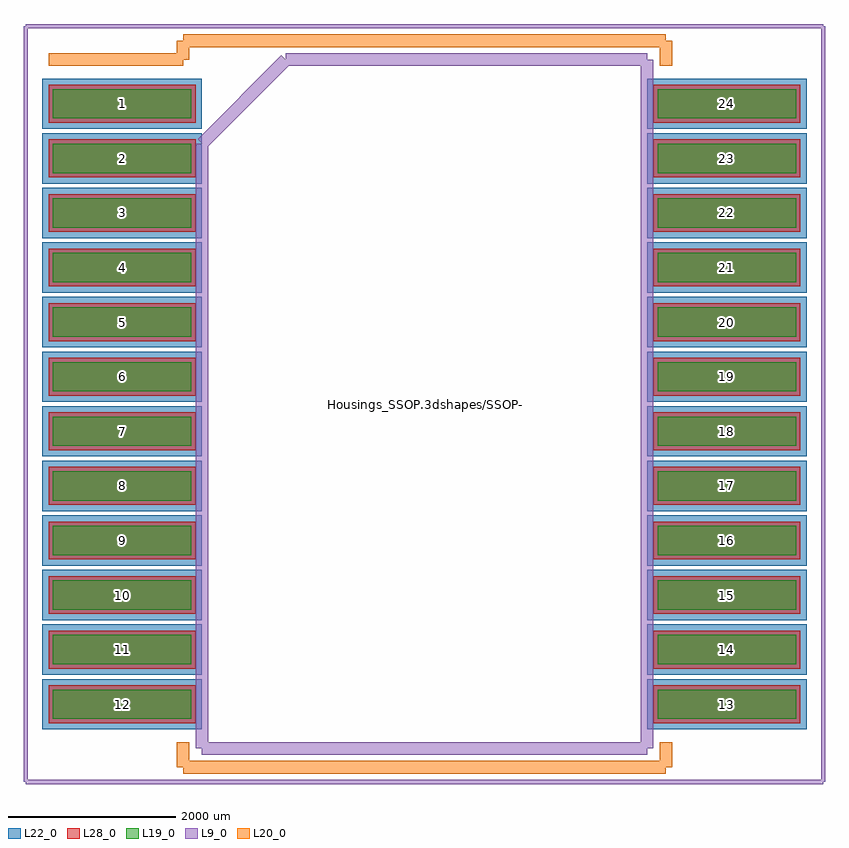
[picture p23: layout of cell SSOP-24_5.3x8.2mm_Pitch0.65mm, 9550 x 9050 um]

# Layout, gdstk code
import gdstk
lib = gdstk.Library(unit=1e-6, precision=1e-09)
def R(c, l, rs):  # rectangles x0, y0, x1, y1
    for r in rs: c.add(gdstk.rectangle(r[:2], r[2:], *l))
def A(c, l, x, y, w, h, nx, ny, dx, dy):  # array of equal rectangles
    R(c, l, [(x+i*dx, y+j*dy, x+i*dx+w, y+j*dy+h) for i in range(nx) for j in range(ny)])
L9_0 = (9, 0)
L19_0 = (19, 0)
L20_0 = (20, 0)
L22_0 = (22, 0)
L28_0 = (28, 0)

ssop_24_5_3x8_2mm_pitch0 = lib.new_cell('SSOP-24_5.3x8.2mm_Pitch0.65mm')
A(ssop_24_5_3x8_2mm_pitch0, L19_0, -4425, -3750, 1650, 350, 1, 12, 0, 650)
A(ssop_24_5_3x8_2mm_pitch0, L19_0, 2775, -3750, 1650, 350, 1, 12, 0, 650)
A(ssop_24_5_3x8_2mm_pitch0, L22_0, -4550, -3875, 1900, 600, 1, 12, 0, 650)
A(ssop_24_5_3x8_2mm_pitch0, L22_0, 2650, -3875, 1900, 600, 1, 12, 0, 650)
A(ssop_24_5_3x8_2mm_pitch0, L28_0, -4475, -3800, 1750, 450, 1, 12, 0, 650)
A(ssop_24_5_3x8_2mm_pitch0, L28_0, 2725, -3800, 1750, 450, 1, 12, 0, 650)
ssop_24_5_3x8_2mm_pitch0.add(gdstk.FlexPath([(-2875,4100),(-4475,4100)], 149.998, ends="flush", simple_path=True, layer=20, datatype=0))  # L20_0
ssop_24_5_3x8_2mm_pitch0.add(gdstk.FlexPath([(-2875,-4325),(2875,-4325)], 149.998, ends="flush", simple_path=True, layer=20, datatype=0))  # L20_0
ssop_24_5_3x8_2mm_pitch0.add(gdstk.FlexPath([(-2875,4325),(2875,4325)], 149.998, ends="flush", simple_path=True, layer=20, datatype=0))  # L20_0
ssop_24_5_3x8_2mm_pitch0.add(gdstk.FlexPath([(-2875,-4325),(-2875,-4025)], 149.998, ends="flush", simple_path=True, layer=20, datatype=0))  # L20_0
ssop_24_5_3x8_2mm_pitch0.add(gdstk.FlexPath([(2875,-4325),(2875,-4025)], 149.998, ends="flush", simple_path=True, layer=20, datatype=0))  # L20_0
ssop_24_5_3x8_2mm_pitch0.add(gdstk.FlexPath([(2875,4325),(2875,4025)], 149.998, ends="flush", simple_path=True, layer=20, datatype=0))  # L20_0
ssop_24_5_3x8_2mm_pitch0.add(gdstk.FlexPath([(-2875,4325),(-2875,4100)], 149.998, ends="flush", simple_path=True, layer=20, datatype=0))  # L20_0
ssop_24_5_3x8_2mm_pitch0.add(gdstk.FlexPath([(-4750,-4500),(4750,-4500)], 50, ends="flush", simple_path=True, layer=9, datatype=0))  # L9_0
ssop_24_5_3x8_2mm_pitch0.add(gdstk.FlexPath([(-4750,4500),(4750,4500)], 50, ends="flush", simple_path=True, layer=9, datatype=0))  # L9_0
ssop_24_5_3x8_2mm_pitch0.add(gdstk.FlexPath([(4750,4500),(4750,-4500)], 50, ends="flush", simple_path=True, layer=9, datatype=0))  # L9_0
ssop_24_5_3x8_2mm_pitch0.add(gdstk.FlexPath([(-4750,4500),(-4750,-4500)], 50, ends="flush", simple_path=True, layer=9, datatype=0))  # L9_0
ssop_24_5_3x8_2mm_pitch0.add(gdstk.FlexPath([(-2650,3100),(-1650,4100)], 149.998, ends="flush", simple_path=True, layer=9, datatype=0))  # L9_0
ssop_24_5_3x8_2mm_pitch0.add(gdstk.FlexPath([(-2650,-4100),(-2650,3100)], 149.998, ends="flush", simple_path=True, layer=9, datatype=0))  # L9_0
ssop_24_5_3x8_2mm_pitch0.add(gdstk.FlexPath([(2650,-4100),(-2650,-4100)], 149.998, ends="flush", simple_path=True, layer=9, datatype=0))  # L9_0
ssop_24_5_3x8_2mm_pitch0.add(gdstk.FlexPath([(2650,4100),(2650,-4100)], 149.998, ends="flush", simple_path=True, layer=9, datatype=0))  # L9_0
ssop_24_5_3x8_2mm_pitch0.add(gdstk.FlexPath([(-1650,4100),(2650,4100)], 149.998, ends="flush", simple_path=True, layer=9, datatype=0))  # L9_0
ssop_24_5_3x8_2mm_pitch0.add(gdstk.Label('Housings_SSOP.3dshapes/SSOP-24_5.3x8.2mm_Pitch0.65mm.wrl', (0,0), layer=12, texttype=0))
ssop_24_5_3x8_2mm_pitch0.add(gdstk.Label('24', (3600,3575), layer=28, texttype=0))
ssop_24_5_3x8_2mm_pitch0.add(gdstk.Label('23', (3600,2925), layer=28, texttype=0))
ssop_24_5_3x8_2mm_pitch0.add(gdstk.Label('22', (3600,2275), layer=28, texttype=0))
ssop_24_5_3x8_2mm_pitch0.add(gdstk.Label('21', (3600,1625), layer=28, texttype=0))
ssop_24_5_3x8_2mm_pitch0.add(gdstk.Label('20', (3600,975), layer=28, texttype=0))
ssop_24_5_3x8_2mm_pitch0.add(gdstk.Label('19', (3600,325), layer=28, texttype=0))
ssop_24_5_3x8_2mm_pitch0.add(gdstk.Label('18', (3600,-325), layer=28, texttype=0))
ssop_24_5_3x8_2mm_pitch0.add(gdstk.Label('17', (3600,-975), layer=28, texttype=0))
ssop_24_5_3x8_2mm_pitch0.add(gdstk.Label('16', (3600,-1625), layer=28, texttype=0))
ssop_24_5_3x8_2mm_pitch0.add(gdstk.Label('15', (3600,-2275), layer=28, texttype=0))
ssop_24_5_3x8_2mm_pitch0.add(gdstk.Label('14', (3600,-2925), layer=28, texttype=0))
ssop_24_5_3x8_2mm_pitch0.add(gdstk.Label('13', (3600,-3575), layer=28, texttype=0))
ssop_24_5_3x8_2mm_pitch0.add(gdstk.Label('12', (-3600,-3575), layer=28, texttype=0))
ssop_24_5_3x8_2mm_pitch0.add(gdstk.Label('11', (-3600,-2925), layer=28, texttype=0))
ssop_24_5_3x8_2mm_pitch0.add(gdstk.Label('10', (-3600,-2275), layer=28, texttype=0))
ssop_24_5_3x8_2mm_pitch0.add(gdstk.Label('9', (-3600,-1625), layer=28, texttype=0))
ssop_24_5_3x8_2mm_pitch0.add(gdstk.Label('8', (-3600,-975), layer=28, texttype=0))
ssop_24_5_3x8_2mm_pitch0.add(gdstk.Label('7', (-3600,-325), layer=28, texttype=0))
ssop_24_5_3x8_2mm_pitch0.add(gdstk.Label('6', (-3600,325), layer=28, texttype=0))
ssop_24_5_3x8_2mm_pitch0.add(gdstk.Label('5', (-3600,975), layer=28, texttype=0))
ssop_24_5_3x8_2mm_pitch0.add(gdstk.Label('4', (-3600,1625), layer=28, texttype=0))
ssop_24_5_3x8_2mm_pitch0.add(gdstk.Label('3', (-3600,2275), layer=28, texttype=0))
ssop_24_5_3x8_2mm_pitch0.add(gdstk.Label('2', (-3600,2925), layer=28, texttype=0))
ssop_24_5_3x8_2mm_pitch0.add(gdstk.Label('1', (-3600,3575), layer=28, texttype=0))
ssop_24_5_3x8_2mm_pitch0.add(gdstk.Label('type', (0,-5250), layer=9, texttype=0))
ssop_24_5_3x8_2mm_pitch0.add(gdstk.Label('devicename', (0,5250), layer=9, texttype=0))

lib.write_gds('SSOP-24_5.3x8.2mm_Pitch0.65mm.gds')
